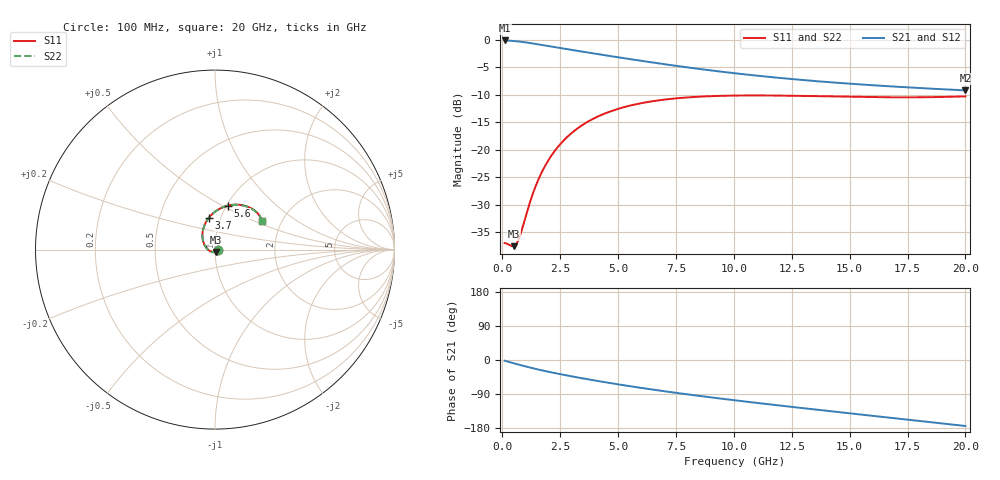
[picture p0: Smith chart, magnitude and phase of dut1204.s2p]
! Touchstone file exported from HFSS 2024.1.0
!  File:  C:/UserFiles/LocalFiles/RDL_TSV_Batchsim/temp_RDL_TSV_1204_1780258026.aedt
!  Generated:  04:22:48 AM Jun  1, 2026
!  Design:  RDL_TSV
!  Project:  temp_RDL_TSV_1204_1780258026
!  Setup:  Setup1
!  Solution:  Sweep
! Variables:
!  dtsv = 12.65um
!  hbump = 3um
!  htsv = 91.98um
!  ldown = 503.11um
!  lrdl = 139.86um
!  p = 40
!  p1 = 57.23um
!  rhole = 10um
!  subl = 2068.77um
!  t = 450um
!  tdown = 4.13um
!  trdl = 2.23um
!  viad = 10um
!  wdown = 18.31um
!  wrdl = 13.11um
!  xbump = 18um
# GHz S MA R 50.000000
! Terminal data exported
! Port[1] = TM1_1_T1
! Port[2] = TM1_4_T1
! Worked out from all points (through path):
!   200 points, 100 MHz to 20 GHz, reference 50 ohm
!   highest |S21| = -0.13 dB at 100 MHz (marker M1); lowest = -9.2 dB at 20 GHz (marker M2)
!   group delay of S21, straight-line fit = 22.4 ps
!   lowest |S11| = -37.5 dB at 500 MHz (marker M3), VSWR 1.03, Z = 50.4 - j1.27 ohm
!   |S11| at or under -10 dB: start of sweep to end of sweep
!   |S22| runs from -37.5 to -10.1 dB; largest |S21 - S12| = 3.6e-14
!   S11 on the Smith chart (normalised r, x): 100 MHz: 1.03, -0.01; 3.7 GHz: 0.88, +0.32; 5.6 GHz: 1.01, +0.53; 20 GHz: 1.58, +0.56
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0.1  0.01426 -11.3  0.9851 -1.8  0.9851 -1.8  0.01426 -11.3
! Gamma 0 0 0 0
! Port Impedance 50 0 50 0
0.5  0.01335 -71.0  0.9739 -8.8  0.9739 -8.8  0.01336 -71.0
0.6  0.01388 -90.3  0.9694 -10.5  0.9694 -10.5  0.01388 -90.2
0.7  0.01523 -109.3  0.9644 -12.1  0.9644 -12.1  0.01524 -109.2
1.2  0.03374 -172.5  0.9332 -20.0  0.9332 -20.0  0.0337 -172.4
1.4  0.04451 173.4  0.919 -22.9  0.919 -22.9  0.04444 173.4
1.6  0.05621 162.2  0.9046 -25.8  0.9046 -25.8  0.05612 162.2
1.9  0.07474 148.7  0.8828 -29.8  0.8828 -29.8  0.07461 148.7
2.2  0.09369 137.7  0.8615 -33.6  0.8615 -33.6  0.09353 137.8
2.6  0.1187 125.6  0.8341 -38.5  0.8341 -38.5  0.1185 125.7
3  0.1426 115.5  0.808 -43.2  0.808 -43.2  0.1423 115.6
3.5  0.1702 104.9  0.777 -48.8  0.777 -48.8  0.1699 104.9
3.7  0.1805 101.1  0.7651 -50.9  0.7651 -50.9  0.1801 101.1
4.6  0.2208 86.6  0.7142 -60.3  0.7142 -60.3  0.2204 86.6
5.6  0.2547 74.0  0.6628 -70.0  0.6628 -70.0  0.2542 74.0
6.8  0.2825 62.3  0.6081 -80.7  0.6081 -80.7  0.282 62.2
8.4  0.3032 50.7  0.5467 -93.9  0.5467 -93.9  0.3025 50.7
10.1  0.3114 42.1  0.4946 -106.8  0.4946 -106.8  0.3107 42.1
11.7  0.3115 36.6  0.4559 -118.2  0.4559 -118.2  0.3108 36.5
13.4  0.3076 32.8  0.4234 -129.9  0.4234 -129.9  0.307 32.8
16.7  0.3001 30.5  0.378 -152.1  0.378 -152.1  0.2995 30.4
20  0.306 31.8  0.3468 -174.1  0.3468 -174.1  0.3053 31.8
